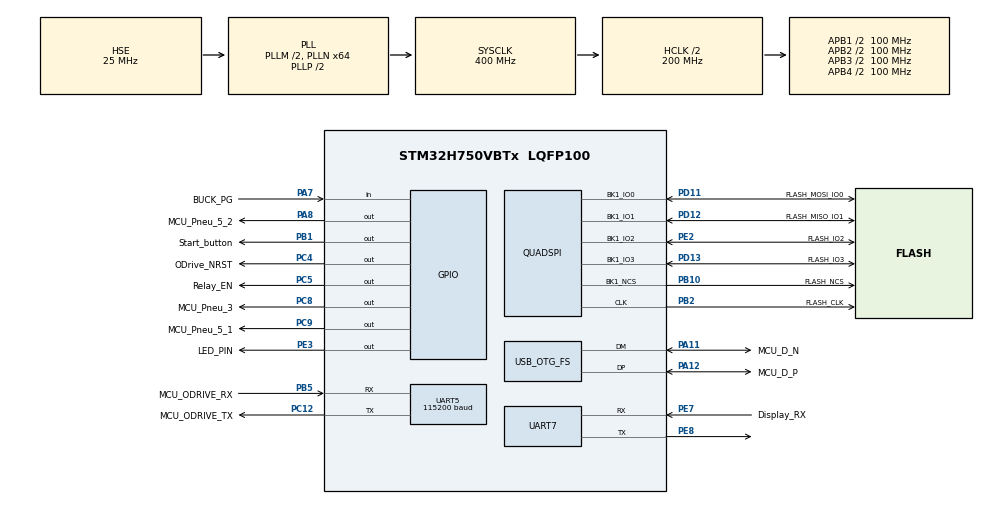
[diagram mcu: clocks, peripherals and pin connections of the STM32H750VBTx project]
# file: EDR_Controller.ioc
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CORTEX_M7.default_mode_Activation=1
Dma.Request0=UART7_RX
Dma.UART7_RX.0.Direction=DMA_PERIPH_TO_MEMORY
Dma.UART7_RX.0.EventEnable=DISABLE
Dma.UART7_RX.0.FIFOMode=DMA_FIFOMODE_DISABLE
Dma.UART7_RX.0.Instance=DMA1_Stream0
Dma.UART7_RX.0.MemDataAlignment=DMA_MDATAALIGN_BYTE
Dma.UART7_RX.0.MemInc=DMA_MINC_ENABLE
Dma.UART7_RX.0.Mode=DMA_CIRCULAR
Dma.UART7_RX.0.PeriphDataAlignment=DMA_PDATAALIGN_BYTE
Dma.UART7_RX.0.PeriphInc=DMA_PINC_DISABLE
Dma.UART7_RX.0.Polarity=HAL_DMAMUX_REQ_GEN_RISING
Dma.UART7_RX.0.Priority=DMA_PRIORITY_LOW
Dma.UART7_RX.0.RequestNumber=1
Dma.UART7_RX.0.SignalID=NONE
Dma.UART7_RX.0.SyncEnable=DISABLE
Dma.UART7_RX.0.SyncPolarity=HAL_DMAMUX_SYNC_NO_EVENT
Dma.UART7_RX.0.SyncRequestNumber=1
Dma.UART7_RX.0.SyncSignalID=NONE
Mcu.Family=STM32H7
Mcu.Name=STM32H750VBTx
Mcu.Package=LQFP100
NVIC.DMA1_Stream0_IRQn=true\:0\:0\:false\:false\:true\:false\:true\:true
NVIC.OTG_FS_IRQn=true\:0\:0\:false\:false\:true\:false\:true\:true
NVIC.PriorityGroup=NVIC_PRIORITYGROUP_4
NVIC.TIM6_DAC_IRQn=true\:0\:0\:false\:false\:true\:true\:true\:true
NVIC.UART5_IRQn=true\:0\:0\:false\:false\:true\:true\:true\:true
NVIC.UART7_IRQn=true\:0\:0\:false\:false\:true\:true\:true\:true
PA11.GPIO_Label=MCU_D_N
PA11.Mode=Device_Only
PA11.Signal=USB_OTG_FS_DM
PA12.GPIO_Label=MCU_D_P
PA12.Mode=Device_Only
PA12.Signal=USB_OTG_FS_DP
PA13\ (JTMS/SWDIO).GPIO_Label=MCU-_SWDIO
PA13\ (JTMS/SWDIO).Mode=Serial_Wire
PA13\ (JTMS/SWDIO).Signal=DEBUG_JTMS-SWDIO
PA14\ (JTCK/SWCLK).GPIO_Label=MCU_CLK
PA14\ (JTCK/SWCLK).Mode=Serial_Wire
PA14\ (JTCK/SWCLK).Signal=DEBUG_JTCK-SWCLK
PA7.GPIO_Label=BUCK_PG
PA7.Signal=GPIO_Input
PA8.GPIO_Label=MCU_Pneu_5_2
PA8.Signal=GPIO_Output
PB1.GPIO_Label=Start_button
PB1.GPIO_PuPd=GPIO_PULLUP
PB1.Signal=GPIO_Output
PB10.GPIO_Label=FLASH_NCS
PB10.Mode=Single Bank 1
PB10.Signal=QUADSPI_BK1_NCS
PB2.GPIO_Label=FLASH_CLK
PB2.Mode=Single Bank 1
PB2.Signal=QUADSPI_CLK
PB5.GPIO_Label=MCU_ODRIVE_RX
PB5.Mode=Asynchronous
PB5.Signal=UART5_RX
PC12.GPIO_Label=MCU_ODRIVE_TX
PC12.Mode=Asynchronous
PC12.Signal=UART5_TX
PC14-OSC32_IN\ (OSC32_IN).Mode=LSE-External-Oscillator
PC14-OSC32_IN\ (OSC32_IN).Signal=RCC_OSC32_IN
PC15-OSC32_OUT\ (OSC32_OUT).Mode=LSE-External-Oscillator
PC15-OSC32_OUT\ (OSC32_OUT).Signal=RCC_OSC32_OUT
PC4.GPIO_Label=ODrive_NRST
PC4.GPIO_ModeDefaultOutputPP=GPIO_MODE_OUTPUT_OD
PC4.GPIO_PuPd=GPIO_NOPULL
PC4.PinState=GPIO_PIN_SET
PC4.Signal=GPIO_Output
PC5.GPIO_Label=Relay_EN
PC5.Signal=GPIO_Output
PC8.GPIO_Label=MCU_Pneu_3
PC8.Signal=GPIO_Output
PC9.GPIO_Label=MCU_Pneu_5_1
PC9.Signal=GPIO_Output
PD11.GPIO_Label=FLASH_MOSI_IO0
PD11.Mode=Single Bank 1
PD11.Signal=QUADSPI_BK1_IO0
PD12.GPIO_Label=FLASH_MISO_IO1
PD12.Mode=Single Bank 1
PD12.Signal=QUADSPI_BK1_IO1
PD13.GPIO_Label=FLASH_IO3
PD13.Mode=Single Bank 1
PD13.Signal=QUADSPI_BK1_IO3
PE2.GPIO_Label=FLASH_IO2
PE2.Mode=Single Bank 1
PE2.Signal=QUADSPI_BK1_IO2
PE3.GPIO_Label=LED_PIN
PE3.Signal=GPIO_Output
PE7.GPIO_Label=Display_RX
PE7.Mode=Asynchronous
PE7.Signal=UART7_RX
PE8.Mode=Asynchronous
PE8.Signal=UART7_TX
PH0-OSC_IN\ (PH0).GPIO_Label=MCU_HSE_IN
PH0-OSC_IN\ (PH0).Mode=HSE-External-Oscillator
PH0-OSC_IN\ (PH0).Signal=RCC_OSC_IN
PH1-OSC_OUT\ (PH1).GPIO_Label=MCU_HSE_OUT
PH1-OSC_OUT\ (PH1).Mode=HSE-External-Oscillator
PH1-OSC_OUT\ (PH1).Signal=RCC_OSC_OUT
ProjectManager.HeapSize=0x200
ProjectManager.StackSize=0x400
ProjectManager.TargetToolchain=STM32CubeIDE
RCC.ADCFreq_Value=75000000
RCC.APB1Freq_Value=100000000
RCC.APB2Freq_Value=100000000
RCC.APB3Freq_Value=100000000
RCC.APB4Freq_Value=100000000
RCC.CortexFreq_Value=400000000
RCC.D1PPRE=RCC_APB3_DIV2
RCC.D2PPRE1=RCC_APB1_DIV2
RCC.D2PPRE2=RCC_APB2_DIV2
RCC.D3PPRE=RCC_APB4_DIV2
RCC.DIVM1=2
RCC.DIVM2=2
RCC.DIVN1=64
RCC.DIVN2=12
RCC.DIVQ1=7
RCC.DIVQ2=3
RCC.FDCANCLockSelection=RCC_FDCANCLKSOURCE_PLL2
RCC.HCLKFreq_Value=200000000
RCC.HPRE=RCC_HCLK_DIV2
RCC.HSE_VALUE=25000000
RCC.I2C123CLockSelection=RCC_I2C123CLKSOURCE_CSI
RCC.I2C4CLockSelection=RCC_I2C4CLKSOURCE_CSI
RCC.PLL2FRACN=0
RCC.PLLFRACN=0
RCC.PLLSourceVirtual=RCC_PLLSOURCE_HSE
RCC.SYSCLKFreq_VALUE=400000000
RCC.SYSCLKSource=RCC_SYSCLKSOURCE_PLLCLK
RCC.USART234578CLockSelection=RCC_USART234578CLKSOURCE_PLL2
RCC.USBCLockSelection=RCC_USBCLKSOURCE_HSI48
RCC.USBFreq_Value=48000000
RTC.Format=RTC_FORMAT_BIN
RTC.Hours=11
RTC.Minutes=27
RTC.Month=RTC_MONTH_JULY
RTC.WeekDay=RTC_WEEKDAY_WEDNESDAY
TIM6.AutoReloadPreload=TIM_AUTORELOAD_PRELOAD_ENABLE
TIM6.Period=999
TIM6.Prescaler=1999
TIM6.TIM_MasterOutputTrigger=TIM_TRGO_UPDATE
UART5.BaudRate=115200
UART5.FIFOMode=FIFOMODE_ENABLE
UART5.Parity=PARITY_NONE
USB_DEVICE.CLASS_NAME_FS=CDC
USB_DEVICE.VirtualMode-CDC_FS=Cdc
USB_DEVICE.VirtualModeFS=Cdc_FS
USB_OTG_FS.VirtualMode=Device_Only
VP_MEMORYMAP_VS_MEMORYMAP.Mode=CurAppReg
VP_RTC_VS_RTC_Activate.Mode=RTC_Enabled
VP_RTC_VS_RTC_Calendar.Mode=RTC_Calendar
VP_TIM6_VS_ClockSourceINT.Mode=Enable_Timer
VP_USB_DEVICE_VS_USB_DEVICE_CDC_FS.Mode=CDC_FS
board=custom

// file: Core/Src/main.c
/* USER CODE BEGIN Header */
/**
 ******************************************************************************
 * @file           : main.c
 * @brief          : Main program body
 ******************************************************************************
 * @attention
 *
 * Copyright (c) 2026 STMicroelectronics.
 * All rights reserved.
 *
 * This software is licensed under terms that can be found in the LICENSE file
 * in the root directory of this software component.
 * If no LICENSE file comes with this software, it is provided AS-IS.
 *
 ******************************************************************************
 */
/* USER CODE END Header */
#include "main.h"
#include "dma.h"
#include "quadspi.h"
#include "rtc.h"
#include "tim.h"
#include "usart.h"
#include "usb_device.h"
#include "gpio.h"

/* USER CODE BEGIN Includes */
#include "packet_protocol.h"
#include "odrive_can_commands.h"
//#include "scara_app.h"

#include "usbd_cdc_if.h"
#include <stdio.h>
#include <string.h>

//Odrive motion
#include <stdarg.h>
#include "app_config.h"
#include "odrive_link.h"
#include "motion.h"
#include "app_log.h"

#include "sequence.h"
#include "cdc_jobs.h"

#include "nextion_display.h"

/* USER CODE END Includes */

/* USER CODE BEGIN PV */

volatile uint8_t g_control_tick_flag = 0;
//static bool s_was_moving = false;

uint8_t buffer[1024];
char msg[100];

//-------ASCII commands for Odrive with UART---------
char fullCallib[] = "w axis0.requested_state 3\n";
char closedLoop0[] = "w axis0.requested_state 8\n";
char closedLoop1[] = "w axis1.requested_state 8\n";

char saveConfig[] = "ss";
char trapezoidal[] = "t 0 -2\n";
char motor_velo[] = "v 0 1 0\n";
char read_voltage[] = "r vbus_voltage\n";

uint8_t uart4_rx_buf[8];
uint8_t uart5_rx_buf[8];

uint16_t uart4_rx_index = 0;
uint16_t uart5_rx_index = 0;

//Sample data for transmission from vision controller
uint32_t lastSendTick = 0;
const uint32_t SEND_INTERVAL_MS = 500; /* send a sample packet every 500ms */
int16_t sampleX = 0;
int16_t sampleY = 0;

/* USER CODE BEGIN PV */

/* Existing debug/manual sequence (unchanged) - triggered by "x,y" lines
 or CdcJobs_InjectLine(), still works exactly as before. */
static sequence_step_t s_pick_place_sequence[] = {  { .type = STEP_MOVE, .x =
		30.0f, .y = 210.0f }, /* pick - overwritten per debug job */
{ .type = STEP_GPIO, .port = MCU_Pneu_5_2_GPIO_Port, .pin = MCU_Pneu_5_2_Pin,
		.pin_state = GPIO_PIN_SET }, { .type = STEP_DELAY, .delay_ms = 300 }, {
		.type = STEP_GPIO, .port = MCU_Pneu_3_GPIO_Port, .pin = MCU_Pneu_3_Pin,
		.pin_state = GPIO_PIN_SET }, { .type = STEP_DELAY, .delay_ms = 0 }, {
		.type = STEP_GPIO, .port = MCU_Pneu_5_2_GPIO_Port, .pin =
		MCU_Pneu_5_2_Pin, .pin_state = GPIO_PIN_RESET }, { .type = STEP_MOVE,
		.x = DROP_X_MM, .y = DROP_Y_MM },
		{ .type = STEP_GPIO, .port = MCU_Pneu_3_GPIO_Port,
				.pin = MCU_Pneu_3_Pin, .pin_state = GPIO_PIN_RESET }, };
#define PICK_PLACE_STEP_COUNT (sizeof(s_pick_place_sequence) / sizeof(s_pick_place_sequence[0]))

/* New conveyor sequence - pick location is fixed (PICK_X_MM/PICK_Y_MM),
 only the grab TIMING varies per job via Sequence_SetWaitTarget(). */
static sequence_step_t s_conveyor_sequence[] = { { .type = STEP_MOVE, .x =
PICK_X_MM, .y = PICK_Y_MM }, /* get there ASAP, max lead time */
{ .type = STEP_WAIT_UNTIL }, /* wait for the scheduled grab instant */
{ .type = STEP_GPIO, .port = MCU_Pneu_5_2_GPIO_Port, .pin = MCU_Pneu_5_2_Pin,
		.pin_state = GPIO_PIN_SET }, { .type = STEP_DELAY, .delay_ms = 300 }, {
		.type = STEP_GPIO, .port = MCU_Pneu_3_GPIO_Port, .pin = MCU_Pneu_3_Pin,
		.pin_state = GPIO_PIN_SET }, { .type = STEP_DELAY, .delay_ms = 0 }, {
		.type = STEP_GPIO, .port = MCU_Pneu_5_2_GPIO_Port, .pin =
		MCU_Pneu_5_2_Pin, .pin_state = GPIO_PIN_RESET }, { .type = STEP_MOVE,
		.x = DROP_X_MM, .y = DROP_Y_MM },
		{ .type = STEP_GPIO, .port = MCU_Pneu_3_GPIO_Port,
				.pin = MCU_Pneu_3_Pin, .pin_state = GPIO_PIN_RESET }, };
#define CONVEYOR_SEQ_COUNT (sizeof(s_conveyor_sequence) / sizeof(s_conveyor_sequence[0]))
/* USER CODE END PV */

//////////////////////////////////
//static sequence_step_t s_pick_place_sequence[] = { { .type = STEP_MOVE, .x =
//		30.0f, .y = 210.0f },
//
//{ .type = STEP_GPIO, .port = MCU_Pneu_5_2_GPIO_Port, .pin = MCU_Pneu_5_2_Pin,
//		.pin_state = GPIO_PIN_SET }, { .type = STEP_DELAY, .delay_ms = 300 }, {
//		.type = STEP_GPIO, .port = MCU_Pneu_3_GPIO_Port, .pin = MCU_Pneu_3_Pin,
//		.pin_state = GPIO_PIN_SET }, { .type = STEP_DELAY, .delay_ms = 0 }, {
//		.type = STEP_GPIO, .port = MCU_Pneu_5_2_GPIO_Port, .pin =
//				MCU_Pneu_5_2_Pin, .pin_state = GPIO_PIN_RESET }, { .type =
//		STEP_DELAY, .delay_ms = 300 }, { .type = STEP_MOVE, .x = 0.0f, .y =
//		650.0f }, /* EDIT to the real drop location */
//
//{ .type = STEP_GPIO, .port = MCU_Pneu_3_GPIO_Port, .pin = MCU_Pneu_3_Pin,
//		.pin_state = GPIO_PIN_RESET }, };
//#define PICK_PLACE_STEP_COUNT (sizeof(s_pick_place_sequence) / sizeof(s_pick_place_sequence[0]))
//////////////////////////////////////////////
static const uint8_t NX_TERM[3] = { 0xFF, 0xFF, 0xFF };

//FDCAN_FilterTypeDef filter;
//FDCAN_TxHeaderTypeDef txHeader;
//FDCAN_RxHeaderTypeDef rxHeader;
//uint32_t can_id;
//uint8_t axis_id=0;

//uint8_t txData[8] =
//{
//    1,2,3,4,5,6,7,8
//};
//
//uint8_t rxData[8];
//uint8_t indx;
//DISPLAY CHECKING
//static const uint8_t NX_TERM[3] = {0xFF, 0xFF, 0xFF};
///* One-byte-at-a-time RX state machine for Nextion touch events.
// * Packet format: 0x65 <page_id> <component_id> <event> 0xFF 0xFF 0xFF
// * event: 0x01 = press, 0x00 = release. We act on release. */
//static uint8_t nx_rx_byte;            // scratch byte HAL writes into
//static uint8_t nx_pkt[7];             // assembled packet
//static uint8_t nx_pkt_idx = 0;

/* USER CODE END PV */

void SystemClock_Config(void);
void PeriphCommonClock_Config(void);
static void MPU_Config(void);

/* USER CODE BEGIN 0 */

void cdc_log(const char *fmt, ...) /* <-- no 'static' anymore */
{
	char buf[128];
	va_list args;
	va_start(args, fmt);
	int len = vsnprintf(buf, sizeof(buf), fmt, args);
	va_end(args);
	if (len > 0)
		CDC_Transmit_FS((uint8_t*) buf, (uint16_t) len);
}

void HAL_TIM_PeriodElapsedCallback(TIM_HandleTypeDef *htim) {
	if (htim->Instance == TIM6) {
		g_control_tick_flag = 1;
	}
}

static void nx_send(UART_HandleTypeDef *huart, const char *cmd) {
	HAL_UART_Transmit(huart, (uint8_t*) cmd, strlen(cmd), 100);
	HAL_UART_Transmit(huart, (uint8_t*) NX_TERM, 3, 100);
}

//--------for display--------------------
//static void nx_send(UART_HandleTypeDef *huart, const char *cmd)
//{
//    HAL_UART_Transmit(huart, (uint8_t *)cmd, strlen(cmd), 100);
//    HAL_UART_Transmit(huart, (uint8_t *)NX_TERM, 3, 100);
//}
/* USER CODE END 0 */

int main(void) {

	/* MPU Configuration--------------------------------------------------------*/
	MPU_Config();

	/* MCU Configuration--------------------------------------------------------*/

	/* Reset of all peripherals, Initializes the Flash interface and the Systick. */
	HAL_Init();

	/* USER CODE BEGIN Init */

//Adding scara GUI
//  scara_app_init();
//  HAL_PWR_EnableBkUpAccess();
//
//  if (__HAL_RCC_GET_RTC_SOURCE() != RCC_RTCCLKSOURCE_LSE) {
//      __HAL_RCC_BACKUPRESET_FORCE();
//      __HAL_RCC_BACKUPRESET_RELEASE();
//  }
	/* USER CODE END Init */

	/* Configure the system clock */
	SystemClock_Config();

	/* Configure the peripherals common clocks */
	PeriphCommonClock_Config();

	/* Initialize all configured peripherals */
	MX_GPIO_Init();
	MX_DMA_Init();
	MX_QUADSPI_Init();
	MX_RTC_Init();
	MX_UART5_Init();
	MX_USB_DEVICE_Init();
	MX_UART7_Init();
	MX_TIM6_Init();
	/* USER CODE BEGIN 2 */

	//Initial startup procedure
	HAL_Delay(6000);
	HAL_GPIO_WritePin(Relay_EN_GPIO_Port, Relay_EN_Pin, GPIO_PIN_SET);
	HAL_Delay(1000);
	HAL_GPIO_WritePin(ODrive_NRST_GPIO_Port, ODrive_NRST_Pin, GPIO_PIN_RESET);
	HAL_Delay(1000);
	HAL_GPIO_WritePin(ODrive_NRST_GPIO_Port, ODrive_NRST_Pin, GPIO_PIN_SET);
	HAL_Delay(1000);

	MX_UART5_Init();
	MX_USB_DEVICE_Init();
	MX_UART7_Init();

	NextionDisplay_Init(&huart7);

	ODriveLink_Init(&huart5);
	HAL_Delay(500);

	motion_init_err_t init_err = Motion_Init();
	if (init_err != MOTION_ERR_NONE) {
		cdc_log("Motion_Init failed: err=%d - aborting.\r\n", (int) init_err);
	} else {
		cdc_log(
				"Motion_Init OK. Send \"x,y\" over this serial port to queue a pick.\r\n");
		HAL_TIM_Base_Start_IT(&htim6);
	}

	static uint32_t s_last_dispay_poll = 0;

	/* USER CODE END 2 */

	/* Infinite loop */
	/* USER CODE BEGIN WHILE */
	while (1) {
//		if ((HAL_GetTick() - s_last_dispay_poll) >= 500) {
//			s_last_dispay_poll = HAL_GetTick();
//			NextionDisplay_PollOdriveState();
//		}

//		if (g_control_tick_flag) {
//			g_control_tick_flag = 0;
//			Motion_Update();
//			Sequence_Update();
//
//	        if (!Sequence_IsRunning()) {
//	            pick_job_t job;
//	            if (CdcJobs_Pop(&job)) {
//	                s_pick_place_sequence[0].x = job.x;
//	                s_pick_place_sequence[0].y = job.y;
//	                cdc_log("Dispatching pick-place for (%.2f, %.2f) [%d job(s) still queued]\r\n",
//	                        (double)job.x, (double)job.y, (int)CdcJobs_PendingCount());
//	                Sequence_Start(s_pick_place_sequence, PICK_PLACE_STEP_COUNT);
//	            }
//	        }
//		}
//	}

		if (g_control_tick_flag) {
			g_control_tick_flag = 0;
			Motion_Update();
			Sequence_Update();

			if (!Sequence_IsRunning()) {
				/* Conveyor jobs are time-critical - always check and dispatch
				 these before debug jobs. */
				conveyor_job_t cjob;
				pick_job_t djob;
				if (CdcJobs_PopConveyorJob(&cjob)) {
					Sequence_SetWaitTarget(cjob.arrival_local_ms);
					cdc_log(
							"Dispatching conveyor pick, grab scheduled at tick %lu [%d more queued]\r\n",
							(unsigned long) cjob.arrival_local_ms,
							(int) CdcJobs_ConveyorPendingCount());
					Sequence_Start(s_conveyor_sequence, CONVEYOR_SEQ_COUNT);
				} else if (CdcJobs_Pop(&djob)) {
					s_pick_place_sequence[0].x = djob.x;
					s_pick_place_sequence[0].y = djob.y;
					cdc_log("Dispatching debug pick-place for (%.2f, %.2f)\r\n",
							(double) djob.x, (double) djob.y);
					Sequence_Start(s_pick_place_sequence,
					PICK_PLACE_STEP_COUNT);
				}
			}
		}
	}

	/* USER CODE END WHILE */

}

void SystemClock_Config(void) {
	RCC_OscInitTypeDef RCC_OscInitStruct = { 0 };
	RCC_ClkInitTypeDef RCC_ClkInitStruct = { 0 };

	/** Supply configuration update enable
	 */
	HAL_PWREx_ConfigSupply(PWR_LDO_SUPPLY);

	/** Configure the main internal regulator output voltage
	 */
	__HAL_PWR_VOLTAGESCALING_CONFIG(PWR_REGULATOR_VOLTAGE_SCALE1);

	while (!__HAL_PWR_GET_FLAG(PWR_FLAG_VOSRDY)) {
	}

	/** Initializes the RCC Oscillators according to the specified parameters
	 * in the RCC_OscInitTypeDef structure.
	 */
	RCC_OscInitStruct.OscillatorType = RCC_OSCILLATORTYPE_HSI48
			| RCC_OSCILLATORTYPE_LSI | RCC_OSCILLATORTYPE_HSE;
	RCC_OscInitStruct.HSEState = RCC_HSE_ON;
	RCC_OscInitStruct.LSIState = RCC_LSI_ON;
	RCC_OscInitStruct.HSI48State = RCC_HSI48_ON;
	RCC_OscInitStruct.PLL.PLLState = RCC_PLL_ON;
	RCC_OscInitStruct.PLL.PLLSource = RCC_PLLSOURCE_HSE;
	RCC_OscInitStruct.PLL.PLLM = 2;
	RCC_OscInitStruct.PLL.PLLN = 64;
	RCC_OscInitStruct.PLL.PLLP = 2;
	RCC_OscInitStruct.PLL.PLLQ = 7;
	RCC_OscInitStruct.PLL.PLLR = 2;
	RCC_OscInitStruct.PLL.PLLRGE = RCC_PLL1VCIRANGE_3;
	RCC_OscInitStruct.PLL.PLLVCOSEL = RCC_PLL1VCOWIDE;
	RCC_OscInitStruct.PLL.PLLFRACN = 0;
	if (HAL_RCC_OscConfig(&RCC_OscInitStruct) != HAL_OK) {
		Error_Handler();
	}

	/** Initializes the CPU, AHB and APB buses clocks
	 */
	RCC_ClkInitStruct.ClockType = RCC_CLOCKTYPE_HCLK | RCC_CLOCKTYPE_SYSCLK
			| RCC_CLOCKTYPE_PCLK1 | RCC_CLOCKTYPE_PCLK2 | RCC_CLOCKTYPE_D3PCLK1
			| RCC_CLOCKTYPE_D1PCLK1;
	RCC_ClkInitStruct.SYSCLKSource = RCC_SYSCLKSOURCE_PLLCLK;
	RCC_ClkInitStruct.SYSCLKDivider = RCC_SYSCLK_DIV1;
	RCC_ClkInitStruct.AHBCLKDivider = RCC_HCLK_DIV2;
	RCC_ClkInitStruct.APB3CLKDivider = RCC_APB3_DIV2;
	RCC_ClkInitStruct.APB1CLKDivider = RCC_APB1_DIV2;
	RCC_ClkInitStruct.APB2CLKDivider = RCC_APB2_DIV2;
	RCC_ClkInitStruct.APB4CLKDivider = RCC_APB4_DIV2;

	if (HAL_RCC_ClockConfig(&RCC_ClkInitStruct, FLASH_LATENCY_2) != HAL_OK) {
		Error_Handler();
	}
}

void PeriphCommonClock_Config(void) {
	RCC_PeriphCLKInitTypeDef PeriphClkInitStruct = { 0 };

	/** Initializes the peripherals clock
	 */
	PeriphClkInitStruct.PeriphClockSelection = RCC_PERIPHCLK_UART5
			| RCC_PERIPHCLK_UART7;
	PeriphClkInitStruct.PLL2.PLL2M = 2;
	PeriphClkInitStruct.PLL2.PLL2N = 12;
	PeriphClkInitStruct.PLL2.PLL2P = 2;
	PeriphClkInitStruct.PLL2.PLL2Q = 3;
	PeriphClkInitStruct.PLL2.PLL2R = 2;
	PeriphClkInitStruct.PLL2.PLL2RGE = RCC_PLL2VCIRANGE_3;
	PeriphClkInitStruct.PLL2.PLL2VCOSEL = RCC_PLL2VCOMEDIUM;
	PeriphClkInitStruct.PLL2.PLL2FRACN = 0;
	PeriphClkInitStruct.Usart234578ClockSelection =
	RCC_USART234578CLKSOURCE_PLL2;
	if (HAL_RCCEx_PeriphCLKConfig(&PeriphClkInitStruct) != HAL_OK) {
		Error_Handler();
	}
}

/* USER CODE BEGIN 4 */

void HAL_UART_RxCpltCallback(UART_HandleTypeDef *huart) {
//---------------------Interrupt callbak v1--------------------------------

	if (huart->Instance == UART5) {
		// Byte is already in uart_rx_buf[uart_rx_index] (HAL wrote it there)
		uart5_rx_index++;

		if (uart5_rx_index >= sizeof(uart5_rx_buf)) {
			CDC_Transmit_FS(uart5_rx_buf, uart5_rx_index);
			uart5_rx_index = 0;
		}

		// Re-arm for the NEXT byte, every single time
		HAL_UART_Receive_IT(&huart5, &uart5_rx_buf[uart5_rx_index], 1);
	} else if (huart->Instance == UART7) {
		NextionDisplay_UART_RxByteISR();
	}

//------------------Interrupt callback v2-----------------------
//	if(huart->Instance == ODRIVE_UART_HANDLE.Instance){
//		odrive_uart_rx_byte_isr(&g_odrive_ctx, g_odrive_ctx.rx_isr_byte);
//		HAL_UART_Receive_IT(huart,&g_odrive_ctx.rx_isr_byte,1);
//	}else if(huart->Instance == DISPLAY_UART_HANDLE.Instance){
//		odrive_uart_rx_byte_isr(&g_nextion_ctx, g_nextion_ctx.rx_isr_byte);
//		HAL_UART_Receive_IT(huart,&g_nextion_ctx.rx_isr_byte,1);
//	}

//---------------------Interrupt callback v3 for display testing

//	    if (huart->Instance == UART4) /* <- your Nextion UART instance */
//	    {
//	        uint8_t b = nx_rx_byte;
//
//	        if (nx_pkt_idx == 0 && b != 0x65) {
//	            /* not the start of a touch packet - ignore stray byte and
//	             * keep waiting for 0x65 */
//	        } else {
//	            nx_pkt[nx_pkt_idx++] = b;
//
//	            if (nx_pkt_idx == 7) {
//	                /* full packet assembled: validate the 0xFF 0xFF 0xFF tail */
//	                if (nx_pkt[4] == 0xFF && nx_pkt[5] == 0xFF && nx_pkt[6] == 0xFF) {
//	                    uint8_t component_id = nx_pkt[2];
//	                    uint8_t event = nx_pkt[3];
//
//	                    if (event == 0x00) { /* release only */
//	                        if (component_id == 0) {        /* b0 = LED ON */
//	                            HAL_GPIO_WritePin(LED_PIN_GPIO_Port, LED_PIN_Pin, GPIO_PIN_SET);
//	                        } else if (component_id == 1) { /* b1 = LED OFF */
//	                            HAL_GPIO_WritePin(LED_PIN_GPIO_Port, LED_PIN_Pin, GPIO_PIN_RESET);
//	                        }
//	                    }
//	                }
//	                nx_pkt_idx = 0; /* ready for next packet */
//	            }
//	        }
//
//	        HAL_UART_Receive_IT(huart, &nx_rx_byte, 1); /* re-arm, always */
//	    }

}

uint32_t ODrive_Get_CAN_ID(uint8_t axis_id, uint32_t cmd_id) {
	return ((uint32_t) axis_id << 5) | cmd_id;
}

/* USER CODE END 4 */

/* MPU Configuration */

void MPU_Config(void) {
	MPU_Region_InitTypeDef MPU_InitStruct = { 0 };

	/* Disables the MPU */
	HAL_MPU_Disable();

	/** Initializes and configures the Region and the memory to be protected
	 */
	MPU_InitStruct.Enable = MPU_REGION_ENABLE;
	MPU_InitStruct.Number = MPU_REGION_NUMBER0;
	MPU_InitStruct.BaseAddress = 0x0;
	MPU_InitStruct.Size = MPU_REGION_SIZE_4GB;
	MPU_InitStruct.SubRegionDisable = 0x87;
	MPU_InitStruct.TypeExtField = MPU_TEX_LEVEL0;
	MPU_InitStruct.AccessPermission = MPU_REGION_NO_ACCESS;
	MPU_InitStruct.DisableExec = MPU_INSTRUCTION_ACCESS_DISABLE;
	MPU_InitStruct.IsShareable = MPU_ACCESS_SHAREABLE;
	MPU_InitStruct.IsCacheable = MPU_ACCESS_NOT_CACHEABLE;
	MPU_InitStruct.IsBufferable = MPU_ACCESS_NOT_BUFFERABLE;

	HAL_MPU_ConfigRegion(&MPU_InitStruct);
	/* Enables the MPU */
	HAL_MPU_Enable(MPU_PRIVILEGED_DEFAULT);

}

void Error_Handler(void) {
	__disable_irq();
	while (1) {
	}
}
